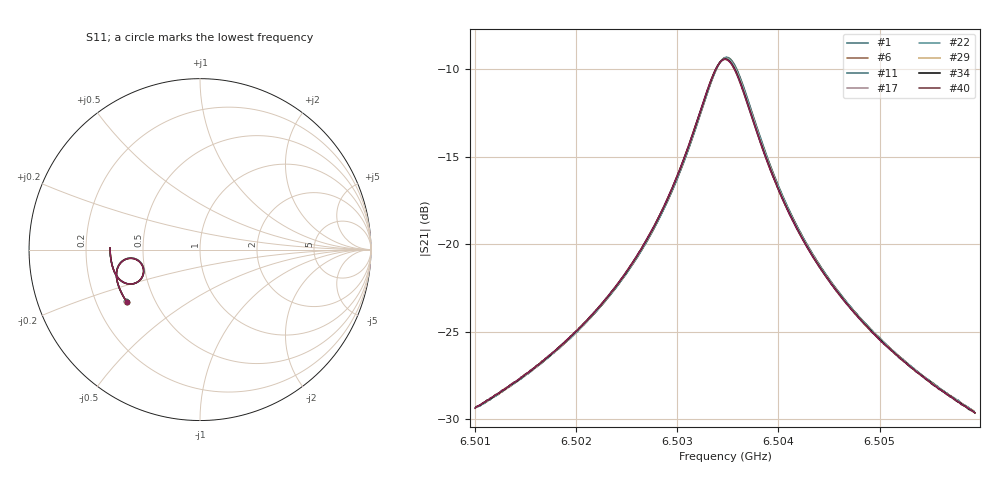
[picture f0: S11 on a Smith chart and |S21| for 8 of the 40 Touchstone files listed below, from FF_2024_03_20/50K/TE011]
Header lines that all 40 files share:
#  HZ  S  RI  R  50.00
! Rohde & Schwarz Vector Network Analyzer
! Rohde-Schwarz,ZNB20-2Port,1311601062101988,3.16
! freq[Hz]  re:S11  im:S11  re:S21  im:S21  re:S12  im:S12  re:S22  im:S22
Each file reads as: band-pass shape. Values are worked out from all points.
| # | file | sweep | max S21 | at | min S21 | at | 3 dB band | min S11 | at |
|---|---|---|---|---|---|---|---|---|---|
| 1 | 120_1_48.2_50.1747971_29024.363_323.07000732421875_.s2p | 6.50105 GHz to 6.505925 GHz | -9.31 dB | 6.503487 GHz | -29.5 dB | 6.505925 GHz | 6.503244 GHz-6.503719 GHz | -9.2 dB | 6.503487 GHz |
| 2 | 121_1_48.2005_50.175106_29915.125_331.60900592803955_.s2p | 6.50105 GHz to 6.505923 GHz | -9.32 dB | 6.503487 GHz | -29.5 dB | 6.505923 GHz | 6.503243 GHz-6.503718 GHz | -9.2 dB | 6.503487 GHz |
| 3 | 122_1_48.2011_50.172287_30105.221_334.105272769928_.s2p | 6.501048 GHz to 6.505924 GHz | -9.32 dB | 6.503486 GHz | -29.5 dB | 6.505924 GHz | 6.503242 GHz-6.503717 GHz | -9.2 dB | 6.503486 GHz |
| 4 | 123_1_48.2028_50.1702385_30375.518_336.51302552223206_.s2p | 6.501046 GHz to 6.505925 GHz | -9.33 dB | 6.503485 GHz | -29.5 dB | 6.505925 GHz | 6.503241 GHz-6.503729 GHz | -9.2 dB | 6.503485 GHz |
| 5 | 124_1_48.2033_50.1731262_30595.445_338.930561542511_.s2p | 6.501041 GHz to 6.505929 GHz | -9.33 dB | 6.503485 GHz | -29.5 dB | 6.505929 GHz | 6.503241 GHz-6.503717 GHz | -9.2 dB | 6.503485 GHz |
| 6 | 125_1_48.1985_50.1724434_30855.52_341.3483672142029_.s2p | 6.501042 GHz to 6.505927 GHz | -9.33 dB | 6.503485 GHz | -29.5 dB | 6.505927 GHz | 6.50324 GHz-6.503717 GHz | -9.2 dB | 6.503485 GHz |
| 7 | 126_1_48.1975_50.171608_31086.211_343.82880425453186_.s2p | 6.501041 GHz to 6.505928 GHz | -9.33 dB | 6.503484 GHz | -29.5 dB | 6.505915 GHz | 6.50324 GHz-6.503716 GHz | -9.2 dB | 6.503484 GHz |
| 8 | 127_1_48.2018_50.1690941_31316.23_346.2543845176697_.s2p | 6.501041 GHz to 6.505926 GHz | -9.34 dB | 6.503484 GHz | -29.5 dB | 6.505926 GHz | 6.50324 GHz-6.503716 GHz | -9.2 dB | 6.503484 GHz |
| 9 | 128_1_48.2013_50.1709938_31566.434_348.6752951145172_.s2p | 6.501037 GHz to 6.505929 GHz | -9.34 dB | 6.503483 GHz | -29.5 dB | 6.505917 GHz | 6.503239 GHz-6.503716 GHz | -9.2 dB | 6.503483 GHz |
| 10 | 129_1_48.1983_50.1709938_31806.586_351.15811228752136_.s2p | 6.501037 GHz to 6.505929 GHz | -9.34 dB | 6.503483 GHz | -29.5 dB | 6.505929 GHz | 6.503239 GHz-6.503716 GHz | -9.2 dB | 6.503483 GHz |
| 11 | 130_1_48.1994_50.1705399_32067.131_353.55474519729614_.s2p | 6.501036 GHz to 6.505929 GHz | -9.35 dB | 6.503483 GHz | -29.5 dB | 6.505929 GHz | 6.503238 GHz-6.503727 GHz | -9.2 dB | 6.503483 GHz |
| 12 | 131_1_48.1968_50.1687126_32307.686_355.95924496650696_.s2p | 6.501035 GHz to 6.50593 GHz | -9.35 dB | 6.503483 GHz | -29.5 dB | 6.50593 GHz | 6.503238 GHz-6.503715 GHz | -9.2 dB | 6.503483 GHz |
| 13 | 132_1_48.201_50.1678352_32558.066_358.38437700271606_.s2p | 6.501033 GHz to 6.505931 GHz | -9.35 dB | 6.503482 GHz | -29.5 dB | 6.505931 GHz | 6.503249 GHz-6.503715 GHz | -9.2 dB | 6.503482 GHz |
| 14 | 133_1_48.2_50.1705017_32778.566_360.7987644672394_.s2p | 6.501035 GHz to 6.505929 GHz | -9.36 dB | 6.503482 GHz | -29.5 dB | 6.505929 GHz | 6.503237 GHz-6.503727 GHz | -9.2 dB | 6.503482 GHz |
| 15 | 134_1_48.1994_50.1678352_33039.953_363.210560798645_.s2p | 6.501031 GHz to 6.505932 GHz | -9.36 dB | 6.503482 GHz | -29.5 dB | 6.505932 GHz | 6.503236 GHz-6.503714 GHz | -9.2 dB | 6.503482 GHz |
| 16 | 135_1_48.2047_50.1698151_33281.313_365.60881781578064_.s2p | 6.501031 GHz to 6.505931 GHz | -9.36 dB | 6.503481 GHz | -29.6 dB | 6.505931 GHz | 6.503236 GHz-6.503714 GHz | -9.2 dB | 6.503481 GHz |
| 17 | 136_1_48.1999_50.1682167_33502.082_368.0431535243988_.s2p | 6.501032 GHz to 6.50593 GHz | -9.37 dB | 6.503481 GHz | -29.5 dB | 6.50593 GHz | 6.503236 GHz-6.503713 GHz | -9.2 dB | 6.503481 GHz |
| 18 | 137_1_48.1967_50.1666985_33752.418_370.47746777534485_.s2p | 6.501029 GHz to 6.505932 GHz | -9.37 dB | 6.50348 GHz | -29.6 dB | 6.505932 GHz | 6.503235 GHz-6.503713 GHz | -9.2 dB | 6.50348 GHz |
| 19 | 138_1_48.1988_50.1676826_34003.035_372.93341541290283_.s2p | 6.501026 GHz to 6.505934 GHz | -9.37 dB | 6.50348 GHz | -29.6 dB | 6.505934 GHz | 6.503235 GHz-6.503713 GHz | -9.2 dB | 6.50348 GHz |
| 20 | 139_1_48.2009_50.1675339_34254.113_375.357052564621_.s2p | 6.501025 GHz to 6.505934 GHz | -9.37 dB | 6.50348 GHz | -29.6 dB | 6.505934 GHz | 6.503234 GHz-6.503713 GHz | -9.2 dB | 6.50348 GHz |
| 21 | 140_1_48.1972_50.1654778_34495.047_377.7875134944916_.s2p | 6.501024 GHz to 6.505935 GHz | -9.38 dB | 6.503479 GHz | -29.6 dB | 6.505935 GHz | 6.503234 GHz-6.503713 GHz | -9.2 dB | 6.503479 GHz |
| 22 | 141_1_48.2019_50.1666985_34735.723_380.1999342441559_.s2p | 6.501024 GHz to 6.505934 GHz | -9.38 dB | 6.503479 GHz | -29.5 dB | 6.505934 GHz | 6.503233 GHz-6.503712 GHz | -9.2 dB | 6.503479 GHz |
| 23 | 142_1_48.2067_50.1652527_34975.918_382.62066864967346_.s2p | 6.501024 GHz to 6.505933 GHz | -9.38 dB | 6.503479 GHz | -29.6 dB | 6.505933 GHz | 6.503233 GHz-6.503724 GHz | -9.2 dB | 6.503479 GHz |
| 24 | 143_1_48.2013_50.164875_35256.738_385.03208923339844_.s2p | 6.50102 GHz to 6.505936 GHz | -9.38 dB | 6.503478 GHz | -29.5 dB | 6.505936 GHz | 6.503233 GHz-6.503712 GHz | -9.2 dB | 6.503478 GHz |
| 25 | 144_1_48.1998_50.1651001_36029.176_393.3730185031891_.s2p | 6.501016 GHz to 6.505938 GHz | -9.39 dB | 6.503477 GHz | -29.6 dB | 6.505938 GHz | 6.503231 GHz-6.503711 GHz | -9.2 dB | 6.503477 GHz |
| 26 | 145_1_48.1967_50.164875_36310.375_395.7927544116974_.s2p | 6.501016 GHz to 6.505938 GHz | -9.40 dB | 6.503477 GHz | -29.6 dB | 6.505938 GHz | 6.503231 GHz-6.503711 GHz | -9.1 dB | 6.503477 GHz |
| 27 | 146_1_48.1989_50.1635818_36560.859_398.2231662273407_.s2p | 6.501014 GHz to 6.505939 GHz | -9.40 dB | 6.503476 GHz | -29.6 dB | 6.505939 GHz | 6.50323 GHz-6.50371 GHz | -9.1 dB | 6.503476 GHz |
| 28 | 147_1_48.2042_50.164566_36781.359_400.63473534584045_.s2p | 6.501013 GHz to 6.505939 GHz | -9.40 dB | 6.503476 GHz | -29.6 dB | 6.505939 GHz | 6.50323 GHz-6.50371 GHz | -9.1 dB | 6.503476 GHz |
| 29 | 148_1_48.2_50.1617508_37032.469_403.1049802303314_.s2p | 6.501012 GHz to 6.505939 GHz | -9.40 dB | 6.503476 GHz | -29.6 dB | 6.505939 GHz | 6.503229 GHz-6.50371 GHz | -9.1 dB | 6.503476 GHz |
| 30 | 149_1_48.2006_50.1619835_37283.18_405.5233223438263_.s2p | 6.501013 GHz to 6.505937 GHz | -9.41 dB | 6.503475 GHz | -29.6 dB | 6.505937 GHz | 6.503229 GHz-6.503709 GHz | -9.1 dB | 6.503475 GHz |
| 31 | 150_1_48.199_50.1631241_37524.395_407.9564280509949_.s2p | 6.50101 GHz to 6.50594 GHz | -9.41 dB | 6.503475 GHz | -29.6 dB | 6.50594 GHz | 6.503228 GHz-6.503709 GHz | -9.1 dB | 6.503475 GHz |
| 32 | 151_1_48.1969_50.1628952_37774.84_410.39190888404846_.s2p | 6.501012 GHz to 6.505937 GHz | -9.41 dB | 6.503474 GHz | -29.6 dB | 6.505925 GHz | 6.503228 GHz-6.503708 GHz | -9.1 dB | 6.503474 GHz |
| 33 | 152_1_48.202_50.1611443_38005.973_412.82514452934265_.s2p | 6.501009 GHz to 6.505939 GHz | -9.41 dB | 6.503474 GHz | -29.6 dB | 6.505939 GHz | 6.503228 GHz-6.503708 GHz | -9.1 dB | 6.503474 GHz |
| 34 | 153_1_48.2052_50.161377_38256.496_415.24666452407837_.s2p | 6.501006 GHz to 6.505942 GHz | -9.42 dB | 6.503474 GHz | -29.6 dB | 6.505942 GHz | 6.503239 GHz-6.503708 GHz | -9.1 dB | 6.503474 GHz |
| 35 | 154_1_48.2004_50.162056_38507.609_417.671014547348_.s2p | 6.501009 GHz to 6.505938 GHz | -9.42 dB | 6.503473 GHz | -29.6 dB | 6.505938 GHz | 6.503227 GHz-6.50372 GHz | -9.1 dB | 6.503473 GHz |
| 36 | 155_1_48.1999_50.1589851_38738.043_420.0806143283844_.s2p | 6.501005 GHz to 6.505942 GHz | -9.42 dB | 6.503473 GHz | -29.6 dB | 6.505942 GHz | 6.503226 GHz-6.503708 GHz | -9.1 dB | 6.503473 GHz |
| 37 | 156_1_48.2026_50.1581535_38978.84_422.4924945831299_.s2p | 6.501005 GHz to 6.50594 GHz | -9.43 dB | 6.503473 GHz | -29.6 dB | 6.50594 GHz | 6.503226 GHz-6.503707 GHz | -9.1 dB | 6.503473 GHz |
| 38 | 157_1_48.1972_50.1592903_39219.277_424.92300152778625_.s2p | 6.501004 GHz to 6.505941 GHz | -9.43 dB | 6.503472 GHz | -29.6 dB | 6.505941 GHz | 6.503226 GHz-6.503707 GHz | -9.1 dB | 6.503472 GHz |
| 39 | 158_1_48.1999_50.1571617_39470.16_427.34913778305054_.s2p | 6.501001 GHz to 6.505943 GHz | -9.43 dB | 6.503472 GHz | -29.6 dB | 6.505943 GHz | 6.503225 GHz-6.503707 GHz | -9.1 dB | 6.503472 GHz |
| 40 | 159_1_48.2004_50.1568604_39711.098_429.799706697464_.s2p | 6.501001 GHz to 6.505943 GHz | -9.43 dB | 6.503472 GHz | -29.6 dB | 6.505943 GHz | 6.503225 GHz-6.503706 GHz | -9.1 dB | 6.503472 GHz |
